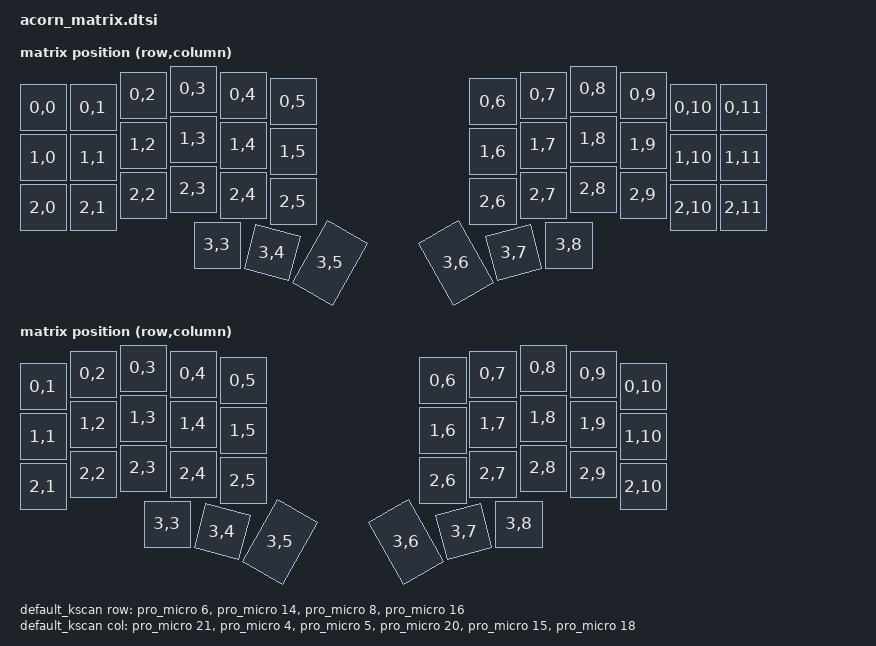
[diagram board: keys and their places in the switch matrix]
#include <dt-bindings/zmk/matrix_transform.h>
#include <physical_layouts.dtsi>

/ {
    chosen {
        zmk,physical-layout = &default_layout;
    };

    default_layout: default_layout {
        compatible = "zmk,physical-layout";
        display-name = "6-col";

        kscan = <&default_kscan>;
        transform = <&default_transform>;

        keys  //                     w   h    x    y     rot    rx    ry
            = <&key_physical_attrs 100 100    0   37       0     0     0>
            , <&key_physical_attrs 100 100  100   37       0     0     0>
            , <&key_physical_attrs 100 100  200   12       0     0     0>
            , <&key_physical_attrs 100 100  300    0       0     0     0>
            , <&key_physical_attrs 100 100  400   12       0     0     0>
            , <&key_physical_attrs 100 100  500   25       0     0     0>
            , <&key_physical_attrs 100 100  900   25       0     0     0>
            , <&key_physical_attrs 100 100 1000   12       0     0     0>
            , <&key_physical_attrs 100 100 1100    0       0     0     0>
            , <&key_physical_attrs 100 100 1200   12       0     0     0>
            , <&key_physical_attrs 100 100 1300   37       0     0     0>
            , <&key_physical_attrs 100 100 1400   37       0     0     0>
            , <&key_physical_attrs 100 100    0  137       0     0     0>
            , <&key_physical_attrs 100 100  100  137       0     0     0>
            , <&key_physical_attrs 100 100  200  112       0     0     0>
            , <&key_physical_attrs 100 100  300  100       0     0     0>
            , <&key_physical_attrs 100 100  400  112       0     0     0>
            , <&key_physical_attrs 100 100  500  125       0     0     0>
            , <&key_physical_attrs 100 100  900  125       0     0     0>
            , <&key_physical_attrs 100 100 1000  112       0     0     0>
            , <&key_physical_attrs 100 100 1100  100       0     0     0>
            , <&key_physical_attrs 100 100 1200  112       0     0     0>
            , <&key_physical_attrs 100 100 1300  137       0     0     0>
            , <&key_physical_attrs 100 100 1400  137       0     0     0>
            , <&key_physical_attrs 100 100    0  237       0     0     0>
            , <&key_physical_attrs 100 100  100  237       0     0     0>
            , <&key_physical_attrs 100 100  200  212       0     0     0>
            , <&key_physical_attrs 100 100  300  200       0     0     0>
            , <&key_physical_attrs 100 100  400  212       0     0     0>
            , <&key_physical_attrs 100 100  500  225       0     0     0>
            , <&key_physical_attrs 100 100  900  225       0     0     0>
            , <&key_physical_attrs 100 100 1000  212       0     0     0>
            , <&key_physical_attrs 100 100 1100  200       0     0     0>
            , <&key_physical_attrs 100 100 1200  212       0     0     0>
            , <&key_physical_attrs 100 100 1300  237       0     0     0>
            , <&key_physical_attrs 100 100 1400  237       0     0     0>
            , <&key_physical_attrs 100 100  348  312       0     0     0>
            , <&key_physical_attrs 100 100  348  312    1500   398   789>
            , <&key_physical_attrs 100 150  348  262    3000   398   789>
            , <&key_physical_attrs 100 150 1052  262 (-3000)  1102   789>
            , <&key_physical_attrs 100 100 1052  312 (-1500)  1102   789>
            , <&key_physical_attrs 100 100 1052  312       0     0     0>
            ;
    };

    five_column_layout: five_column_layout {
        compatible = "zmk,physical-layout";
        display-name = "5-col";

        kscan = <&default_kscan>;
        transform = <&five_column_transform>;

        keys  //                     w   h    x    y     rot    rx    ry
            = <&key_physical_attrs 100 100    0   37       0     0     0>
            , <&key_physical_attrs 100 100  100   12       0     0     0>
            , <&key_physical_attrs 100 100  200    0       0     0     0>
            , <&key_physical_attrs 100 100  300   12       0     0     0>
            , <&key_physical_attrs 100 100  400   25       0     0     0>
            , <&key_physical_attrs 100 100  800   25       0     0     0>
            , <&key_physical_attrs 100 100  900   12       0     0     0>
            , <&key_physical_attrs 100 100 1000    0       0     0     0>
            , <&key_physical_attrs 100 100 1100   12       0     0     0>
            , <&key_physical_attrs 100 100 1200   37       0     0     0>
            , <&key_physical_attrs 100 100    0  137       0     0     0>
            , <&key_physical_attrs 100 100  100  112       0     0     0>
            , <&key_physical_attrs 100 100  200  100       0     0     0>
            , <&key_physical_attrs 100 100  300  112       0     0     0>
            , <&key_physical_attrs 100 100  400  125       0     0     0>
            , <&key_physical_attrs 100 100  800  125       0     0     0>
            , <&key_physical_attrs 100 100  900  112       0     0     0>
            , <&key_physical_attrs 100 100 1000  100       0     0     0>
            , <&key_physical_attrs 100 100 1100  112       0     0     0>
            , <&key_physical_attrs 100 100 1200  137       0     0     0>
            , <&key_physical_attrs 100 100    0  237       0     0     0>
            , <&key_physical_attrs 100 100  100  212       0     0     0>
            , <&key_physical_attrs 100 100  200  200       0     0     0>
            , <&key_physical_attrs 100 100  300  212       0     0     0>
            , <&key_physical_attrs 100 100  400  225       0     0     0>
            , <&key_physical_attrs 100 100  800  225       0     0     0>
            , <&key_physical_attrs 100 100  900  212       0     0     0>
            , <&key_physical_attrs 100 100 1000  200       0     0     0>
            , <&key_physical_attrs 100 100 1100  212       0     0     0>
            , <&key_physical_attrs 100 100 1200  237       0     0     0>
            , <&key_physical_attrs 100 100  248  312       0     0     0>
            , <&key_physical_attrs 100 100  248  312    1500   298   789>
            , <&key_physical_attrs 100 150  248  262    3000   298   789>
            , <&key_physical_attrs 100 150  952  262 (-3000)  1002   789>
            , <&key_physical_attrs 100 100  952  312 (-1500)  1002   789>
            , <&key_physical_attrs 100 100  952  312       0     0     0>
            ;
    };

    acorn_position_map {
        compatible = "zmk,physical-layout-position-map";

        complete;

        twelve {
            physical-layout = <&default_layout>;
            positions
                = < 1  2  3  4  5  6  7  8  9 10>
                , <13 14 15 16 17 18 19 20 21 22>
                , <25 26 27 28 29 30 31 32 33 34>
                , <      36 37 38 39 40 41      >;
        };

        ten {
            physical-layout = <&five_column_layout>;
            positions
                = < 0  1  2  3  4  5  6  7  8  9>
                , <10 11 12 13 14 15 16 17 18 19>
                , <20 21 22 23 24 25 26 27 28 29>
                , <      30 31 32 33 34 35      >;
        };
    };

    default_kscan: default_kscan {
        compatible = "zmk,kscan-gpio-matrix";
        wakeup-source;

        diode-direction = "col2row";

        row-gpios
            = <&pro_micro 6 (GPIO_ACTIVE_HIGH | GPIO_PULL_DOWN)>
            , <&pro_micro 14 (GPIO_ACTIVE_HIGH | GPIO_PULL_DOWN)>
            , <&pro_micro 8 (GPIO_ACTIVE_HIGH | GPIO_PULL_DOWN)>
            , <&pro_micro 16 (GPIO_ACTIVE_HIGH | GPIO_PULL_DOWN)>
            ;

        // NOTE: Below are LHS columns, RHS columns are different
        col-gpios
            = <&pro_micro 21 (GPIO_ACTIVE_HIGH)>
            , <&pro_micro 4 (GPIO_ACTIVE_HIGH)>
            , <&pro_micro 5 (GPIO_ACTIVE_HIGH)>
            , <&pro_micro 20 (GPIO_ACTIVE_HIGH)>
            , <&pro_micro 15 (GPIO_ACTIVE_HIGH)>
            , <&pro_micro 18 (GPIO_ACTIVE_HIGH)>
            ;
    };

    default_transform: default_transform {
        compatible = "zmk,matrix-transform";
        columns = <12>;
        rows = <4>;
        map = <
            RC(0,0) RC(0,1) RC(0,2) RC(0,3) RC(0,4) RC(0,5)   RC(0,6) RC(0,7) RC(0,8) RC(0,9) RC(0,10) RC(0,11)
            RC(1,0) RC(1,1) RC(1,2) RC(1,3) RC(1,4) RC(1,5)   RC(1,6) RC(1,7) RC(1,8) RC(1,9) RC(1,10) RC(1,11)
            RC(2,0) RC(2,1) RC(2,2) RC(2,3) RC(2,4) RC(2,5)   RC(2,6) RC(2,7) RC(2,8) RC(2,9) RC(2,10) RC(2,11)
                                    RC(3,3) RC(3,4) RC(3,5)   RC(3,6) RC(3,7) RC(3,8)
        >;
    };
    
    five_column_transform: five_column_transform {
        compatible = "zmk,matrix-transform";
        columns = <10>;
        rows = <4>;
        map = <
            RC(0,1) RC(0,2) RC(0,3) RC(0,4) RC(0,5)   RC(0,6) RC(0,7) RC(0,8) RC(0,9) RC(0,10)
            RC(1,1) RC(1,2) RC(1,3) RC(1,4) RC(1,5)   RC(1,6) RC(1,7) RC(1,8) RC(1,9) RC(1,10)
            RC(2,1) RC(2,2) RC(2,3) RC(2,4) RC(2,5)   RC(2,6) RC(2,7) RC(2,8) RC(2,9) RC(2,10)
                            RC(3,3) RC(3,4) RC(3,5)   RC(3,6) RC(3,7) RC(3,8)
        >;
    };

    left_encoder: left_encoder {
        compatible = "alps,ec11";
        steps = <80>;
        status = "disabled";
    };

    right_encoder: right_encoder {
        compatible = "alps,ec11";
        steps = <80>;
        status = "disabled";
    };

    sensors: sensors {
        compatible = "zmk,keymap-sensors";
        sensors = <&left_encoder &right_encoder>;
        triggers-per-rotation = <20>;
    };
};
